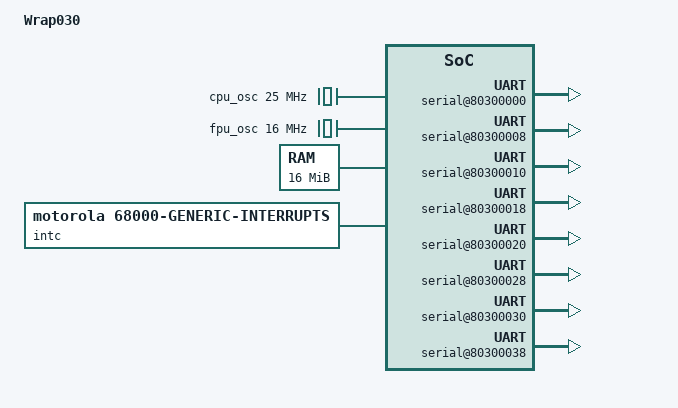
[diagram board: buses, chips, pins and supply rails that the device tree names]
/dts-v1/;

/ {
	interrupt-parent = <&intc>;
	#address-cells = <1>;
	#size-cells = <1>;

	model = "Wrap030";
	compatible = "techav,wrap030";

	chosen {
		/*
		 * Original Wrap030 port hard-codes:
		 * RB_ASKNAME | RB_SINGLE | AB_VERBOSE | AB_DEBUG
		 */
		bootargs = "-asvx";
		stdout-path = "serial0:9600n8";
	};

	aliases {
		ata0 = "/obio/ata@80200000";

		serial0 = "/obio/serial@80300000";
		serial1 = "/obio/serial@80300008";

		timer0 = "/obio/timer@80f00000";
	};

	cpus {
		#address-cells = <1>;
		#size-cells = <0>;

		cpu0: cpu@0 {
			compatible = "motorola,68030";
			device_type = "cpu";
			reg = <0>;
			clock-frequency = <25000000>;
		};
	};

	clocks {
		cpu_osc: osc25M_clk {
			compatible = "fixed-clock";
			#clock-cells = <0>;
			clock-frequency = <25000000>;
		};

		/*
		 * The FPU clock is actually jumper-selectable between
		 * the cpu_osc and the fpu_osc, but there is no way to
		 * know the selection in software.
		 */
		fpu_osc: osc16M_clk {
			compatible = "fixed-clock";
			#clock-cells = <0>;
			clock-frequency = <16000000>;
		};
	};

	memory@0 {
		/*
		 * Original Wrap030 port hard-wired 16MB, and so do we,
		 * for now.  Eventually, the kernel will have to size
		 * the memory dynamically somehow.
		 */
		device_type = "memory";
		reg = <0x0 0x1000000>;
	};

	intc: interrupt-controller {
		/*
		 * Interrupt cells:
		 * - Interrupt priority level (1-7)
		 * - Interrupt vector (0 == auto-vector)
		 */
		compatible = "motorola,68000-generic-interrupts";
		interrupt-controller;
		#interrupt-cells = <2>;
	};

	obio {
		compatible = "simple-bus";
		#address-cells = <1>;
		#size-cells = <1>;

		serial@80300000 {
			compatible = "ns16550a";
			reg = <0x80300000 0x8>;
			clock-frequency = <1843200>;
			interrupts = <5 0>;
		};

		serial@80300008 {
			compatible = "ns16550a";
			reg = <0x80300008 0x8>;
			clock-frequency = <1843200>;
			interrupts = <5 0>;
		};

		serial@80300010 {
			compatible = "ns16550a";
			reg = <0x80300010 0x8>;
			clock-frequency = <1843200>;
			interrupts = <5 0>;
		};

		serial@80300018 {
			compatible = "ns16550a";
			reg = <0x80300018 0x8>;
			clock-frequency = <1843200>;
			interrupts = <5 0>;
		};

		serial@80300020 {
			compatible = "ns16550a";
			reg = <0x80300020 0x8>;
			clock-frequency = <1843200>;
			interrupts = <5 0>;
		};

		serial@80300028 {
			compatible = "ns16550a";
			reg = <0x80300028 0x8>;
			clock-frequency = <1843200>;
			interrupts = <5 0>;
		};

		serial@80300030 {
			compatible = "ns16550a";
			reg = <0x80300030 0x8>;
			clock-frequency = <1843200>;
			interrupts = <5 0>;
		};

		serial@80300038 {
			compatible = "ns16550a";
			reg = <0x80300038 0x8>;
			clock-frequency = <1843200>;
			interrupts = <5 0>;
		};

		ata@80200000 {
			compatible = "ata-generic";
			reg = <0x80200000 0x10>,	/* command */
			      <0x8020200c 0x4>;		/* control */
			reg-shift = <1>;
			interrupts = <3 0>;
			ata-generic,use16bit;
		};

		timer@80f00000 {
			compatible = "techav,wrap030-timer";
			reg = <0x80f00000 0x10000>;
			clocks = <&cpu_osc>;
			interrupts = <6 0>;
		};
	};
};
